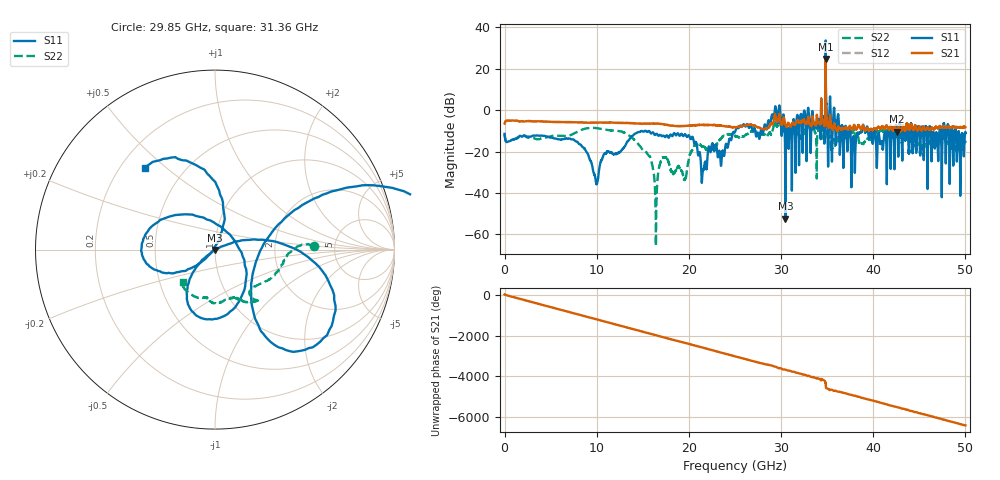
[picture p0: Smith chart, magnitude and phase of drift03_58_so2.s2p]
!Created with skrf (http://scikit-rf.org).
# Hz S RI R 50.0
!freq ReS11 ImS11 ReS21 ImS21 ReS12 ImS12 ReS22 ImS22
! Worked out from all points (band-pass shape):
!   10001 points, 300 kHz to 50 GHz, reference 50 ohm
!   highest |S21| = 24.62 dB at 34.85 GHz (marker M1); lowest = -10.3 dB at 42.55 GHz (marker M2)
!   |S21| within 3 dB of the highest: 34.84323 GHz to 34.84618 GHz (2.951 MHz wide, 0.00847 % of centre)
!   lowest |S11| = -52.4 dB at 30.47 GHz (marker M3), VSWR 1.00, Z = 49.9 - j0.222 ohm
!   |S11| at or under -10 dB: start of sweep to 15.23 GHz; 15.33 GHz to 25.05 GHz (9.727 GHz wide, 48.2 % of centre); 40.22 GHz to 41.62 GHz (1.394 GHz wide, 3.41 % of centre) (the widest 3 of 50)
!   |S22| runs from -65.7 to 15.4 dB; largest |S21 - S12| = 2.4
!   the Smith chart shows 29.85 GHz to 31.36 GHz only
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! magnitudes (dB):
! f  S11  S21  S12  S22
! 300 kHz  -11.5  -6.5  -6.5  -11.3
! 8.335 GHz  -17.1  -6.0  -6.0  -9.6
! 9.955 GHz  -35.6  -6.1  -6.1  -8.7
! 13.79 GHz  -12.6  -6.3  -6.3  -13.2
! 15.74 GHz  -10.4  -6.5  -6.5  -22.3
! 16.37 GHz  -11.9  -6.5  -6.5  -43.4
! 16.67 GHz  -12.4  -6.5  -6.5  -29.9
! 17.34 GHz  -12.7  -6.9  -6.9  -23.0
! 19.55 GHz  -11.6  -7.6  -7.6  -33.3
! 20.22 GHz  -13.8  -7.5  -7.5  -20.4
! 21.55 GHz  -28.7  -7.2  -7.2  -17.7
! 25 GHz  -10.6  -8.3  -8.2  -12.6
! 29.6 GHz  -5.5  -5.7  -5.9  -7.8
! 30.47 GHz  -52.4  -7.2  -7.2  -9.0
! 33.34 GHz  -3.8  -6.8  -6.7  -9.3
! 34.85 GHz  33.6  24.6  24.3  15.4
! 35.62 GHz  -7.1  -9.3  -9.1  -16.0
! 37.83 GHz  -12.7  -8.3  -8.4  -9.8
! 38.81 GHz  -8.7  -8.2  -8.2  -16.2
! 41.67 GHz  -9.3  -9.4  -9.3  -11.5
! 42.55 GHz  -8.2  -10.3  -10.4  -13.3
! 50 GHz  -10.7  -8.3  -8.2  -15.5
